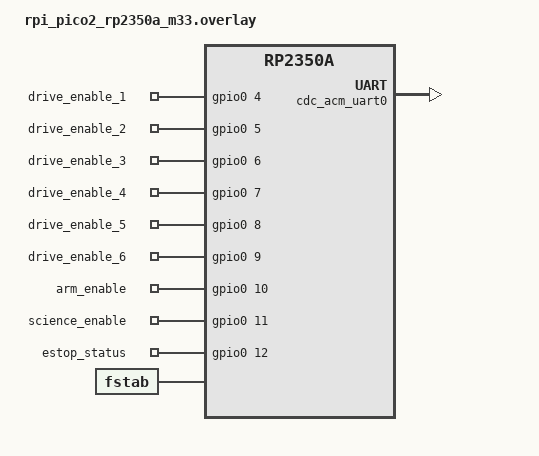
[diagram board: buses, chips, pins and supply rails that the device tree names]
/*
 * Route Zephyr's console and the F Prime byte-stream driver through the
 * Pico 2's USB device controller. Without this overlay, zephyr,console is
 * uart0 on GPIO 0/1 and the board does not enumerate as a USB serial port.
 */

#include <zephyr/dt-bindings/gpio/gpio.h>
#include <zephyr/dt-bindings/pinctrl/rpi-pico-rp2350a-pinctrl.h>

/ {
    chosen {
        zephyr,console = &cdc_acm_uart0;
    };

    /*
     * Native RP2350 power-enable outputs per the schematic GPIO breakout:
     * GPIO4-9 drivetrain, GPIO10 arm, GPIO11 science. All active-high, all
     * must come up inactive/low. GPIO13 and up are an unassigned generic
     * breakout header (DF11 18DP, CN6) with no dedicated function.
     */
    billee-gpio-outputs {
        compatible = "gpio-leds";

        drive_enable_1: drive-enable-1 { gpios = <&gpio0 4 GPIO_ACTIVE_HIGH>; };
        drive_enable_2: drive-enable-2 { gpios = <&gpio0 5 GPIO_ACTIVE_HIGH>; };
        drive_enable_3: drive-enable-3 { gpios = <&gpio0 6 GPIO_ACTIVE_HIGH>; };
        drive_enable_4: drive-enable-4 { gpios = <&gpio0 7 GPIO_ACTIVE_HIGH>; };
        drive_enable_5: drive-enable-5 { gpios = <&gpio0 8 GPIO_ACTIVE_HIGH>; };
        drive_enable_6: drive-enable-6 { gpios = <&gpio0 9 GPIO_ACTIVE_HIGH>; };
        arm_enable: arm-enable { gpios = <&gpio0 10 GPIO_ACTIVE_HIGH>; };
        science_enable: science-enable { gpios = <&gpio0 11 GPIO_ACTIVE_HIGH>; };
    };

    /*
     * E-STOP status input, GPIO12. Raw level passed straight through:
     * LOW = E-STOP engaged (stop), HIGH = released (run allowed).
     * NO internal pull of any kind: the external 10k pulldown (R61) is the
     * fail-safe, and this same net drives the first input of all 8 hardware
     * AND gates (U17/U18), so an internal pull would shift the voltage they see.
     * Never configure this pin as an output.
     */
    billee-gpio-inputs {
        compatible = "gpio-keys";

        estop_status: estop-status { gpios = <&gpio0 12 GPIO_ACTIVE_HIGH>; };
    };

    /*
     * LittleFS on storage_partition (below), auto-mounted at /lfs before main().
     * Holds command sequences (/lfs/seq/*.bin) and the parameter database
     * (/lfs/PrmDb.dat). The first boot on a blank partition formats it.
     * cache-size matches the flash's 256-byte program page.
     */
    fstab {
        compatible = "zephyr,fstab";

        lfs_storage: lfs-storage {
            compatible = "zephyr,fstab,littlefs";
            mount-point = "/lfs";
            partition = <&storage_partition>;
            automount;
            read-size = <16>;
            prog-size = <16>;
            cache-size = <256>;
            lookahead-size = <32>;
            block-cycles = <512>;
        };
    };
};

/*
 * 4 MB QSPI flash layout: the firmware image is linked from offset 0 (~465 KB
 * today), and the last 1 MB is the LittleFS storage partition. A UF2/picotool
 * flash only rewrites the image's own blocks, so sequences and saved
 * parameters survive a reflash.
 */
&flash0 {
    partitions {
        compatible = "fixed-partitions";
        #address-cells = <1>;
        #size-cells = <1>;

        storage_partition: partition@300000 {
            label = "storage";
            reg = <0x00300000 DT_SIZE_M(1)>;
        };
    };
};

&zephyr_udc0 {
    cdc_acm_uart0: cdc_acm_uart0 {
        compatible = "zephyr,cdc-acm-uart";
    };
};

/*
 * uart0 defaults to GPIO0/1 (TX/RX), which conflicts with I2C0 below.
 * The board console and F Prime GDS transport both run over the USB CDC
 * ACM device above, so the hardware UART0 peripheral is unused.
 */
&uart0 {
    status = "disabled";
};

/*
 * Per the PDB GPIO map (Rev G): I2C0 (high-current telemetry bus, INA780x
 * via TCA4307) on GPIO0/1, I2C1 (logic/temp telemetry bus, MCP9808 via
 * TCA4307) on GPIO2/3. Both buses are enabled here at the devicetree level;
 * no F Prime I2C driver/component is wired to them yet.
 */
&i2c0_default {
    group1 {
        pinmux = <I2C0_SDA_P0>, <I2C0_SCL_P1>;
        input-enable;
        input-schmitt-enable;
    };
};

&i2c1_default {
    group1 {
        pinmux = <I2C1_SDA_P2>, <I2C1_SCL_P3>;
        input-enable;
        input-schmitt-enable;
    };
};
